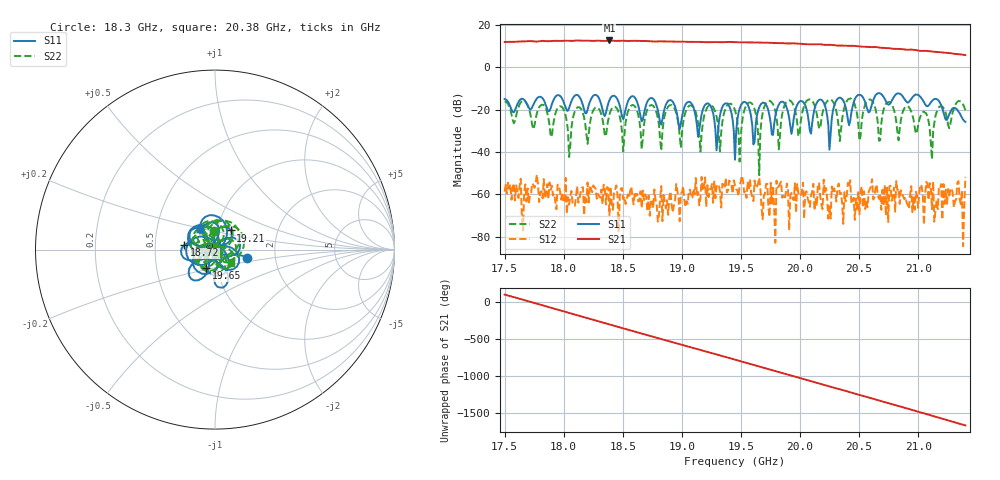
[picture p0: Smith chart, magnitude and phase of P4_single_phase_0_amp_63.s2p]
!Created with skrf (http://scikit-rf.org).
# GHz S RI R 50.0
!freq ReS11 ImS11 ReS21 ImS21 ReS12 ImS12 ReS22 ImS22
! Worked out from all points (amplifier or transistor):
!   401 points, 17.5 GHz to 21.4 GHz, reference 50 ohm
!   highest |S21| = 12.8 dB at 18.39 GHz (marker M1)
!   |S21| within 3 dB of that: start of sweep to 20.55 GHz
!   unconditionally stable (mu >= 1): start of sweep to end of sweep
!   at 18.14 GHz: K = 98.87, MAG = 12.9 dB, |S12| = -59.0 dB
!   at 19.45 GHz: K = 75.97, MAG = 12.0 dB, |S12| = -55.7 dB
!   at 21.4 GHz: K = 96.59, MAG = 5.9 dB, |S12| = -51.7 dB
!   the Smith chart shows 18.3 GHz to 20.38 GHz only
!   S11 on the Smith chart (normalised r, x): 18.3 GHz: 1.43, -0.14; 18.72 GHz: 0.71, +0.03; 19.21 GHz: 1.16, +0.25; 19.65 GHz: 0.89, -0.19; 20.38 GHz: 0.82, +0.20
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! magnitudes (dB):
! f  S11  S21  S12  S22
! 17.5 GHz  -14.9  12.0  -58.7  -16.0
! 17.98 GHz  -13.9  12.6  -62.5  -18.4
! 18.05 GHz  -19.1  12.6  -64.8  -42.3
! 18.15 GHz  -16.2  12.7  -56.9  -20.1
! 18.3 GHz  -14.6  12.7  -60.9  -19.7
! 18.39 GHz  -15.4  12.8  -69.8  -22.1
! 18.66 GHz  -25.4  12.5  -66.4  -38.6
! 18.72 GHz  -15.2  12.4  -60.6  -18.7
! 18.81 GHz  -22.9  12.4  -70.0  -27.1
! 19.21 GHz  -17.2  12.0  -65.9  -19.9
! 19.45 GHz  -43.6  12.0  -55.7  -20.2
! 19.49 GHz  -19.4  11.9  -56.3  -44.5
! 19.59 GHz  -23.2  11.9  -59.1  -16.7
! 19.65 GHz  -18.9  11.8  -52.0  -50.9
! 19.73 GHz  -20.4  11.7  -66.2  -15.8
! 19.82 GHz  -17.6  11.5  -56.1  -38.7
! 20.1 GHz  -26.2  10.9  -58.5  -15.8
! 20.38 GHz  -16.8  10.3  -58.9  -18.8
! 20.68 GHz  -12.3  9.4  -59.5  -34.4
! 20.76 GHz  -17.5  9.1  -56.2  -16.3
! 21.12 GHz  -15.8  7.5  -67.0  -43.4
! 21.4 GHz  -25.7  5.9  -51.7  -20.2
